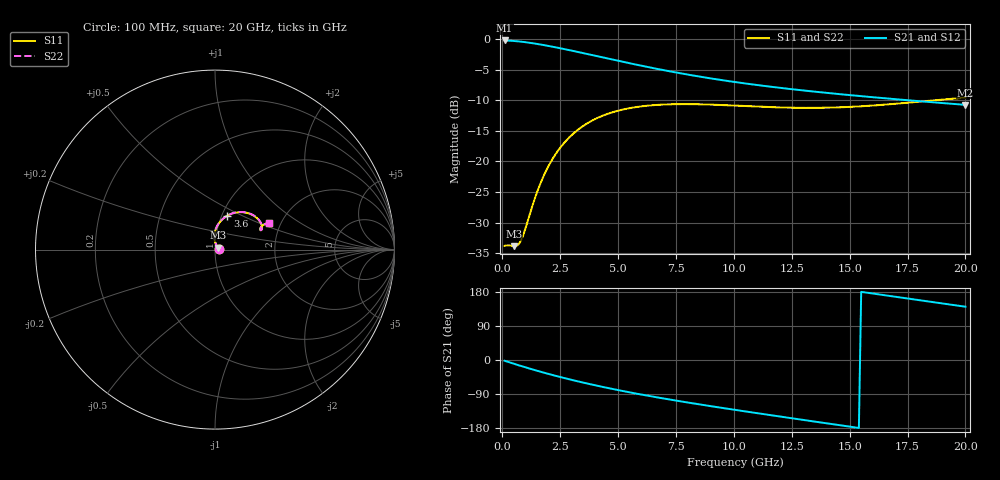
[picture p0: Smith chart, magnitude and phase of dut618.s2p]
! Touchstone file exported from HFSS 2024.1.0
!  File:  C:/UserFiles/LocalFiles/RDL_TSV_Batchsim/temp_RDL_TSV_618_1779801123.aedt
!  Generated:  09:29:42 PM May 26, 2026
!  Design:  RDL_TSV
!  Project:  temp_RDL_TSV_618_1779801123
!  Setup:  Setup1
!  Solution:  Sweep
! Variables:
!  dtsv = 11.08um
!  hbump = 3um
!  htsv = 87.33um
!  ldown = 548.41um
!  lrdl = 320.66um
!  p = 40
!  p1 = 50.2um
!  rhole = 10um
!  subl = 2927.87um
!  t = 450um
!  tdown = 4.26um
!  trdl = 2.99um
!  viad = 10um
!  wdown = 10.11um
!  wrdl = 23.08um
!  xbump = 18um
# GHz S MA R 50.000000
! Terminal data exported
! Port[1] = TM1_1_T1
! Port[2] = TM1_4_T1
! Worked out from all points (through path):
!   200 points, 100 MHz to 20 GHz, reference 50 ohm
!   highest |S21| = -0.18 dB at 100 MHz (marker M1); lowest = -10.7 dB at 20 GHz (marker M2)
!   group delay of S21, straight-line fit = 28.4 ps
!   lowest |S11| = -33.9 dB at 500 MHz (marker M3), VSWR 1.04, Z = 51.7 + j1.09 ohm
!   |S11| at or under -10 dB: start of sweep to 18.61 GHz
!   |S22| runs from -33.9 to -9.5 dB; largest |S21 - S12| = 2.9e-13
!   S11 on the Smith chart (normalised r, x): 100 MHz: 1.04, +0.00; 3.6 GHz: 1.06, +0.42; 20 GHz: 1.74, +0.57
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0.1  0.0204 6.3  0.9792 -2.0  0.9792 -2.0  0.0204 6.3
! Gamma 0 0 0 0
! Port Impedance 50 0 50 0
0.5  0.02027 31.4  0.9699 -9.9  0.9699 -9.9  0.02026 31.4
0.7  0.02094 49.6  0.9623 -13.8  0.9623 -13.8  0.02093 49.7
0.8  0.0224 59.5  0.9578 -15.7  0.9578 -15.7  0.02239 59.6
0.9  0.02485 68.6  0.953 -17.5  0.953 -17.5  0.02484 68.7
1.4  0.04946 91.1  0.924 -26.6  0.924 -26.6  0.04952 91.2
1.6  0.06285 92.7  0.9107 -30.1  0.9107 -30.1  0.06294 92.8
2.1  0.09963 90.1  0.8753 -38.5  0.8753 -38.5  0.09981 90.2
2.7  0.144 82.5  0.8307 -48.0  0.8307 -48.0  0.1443 82.6
3.5  0.1959 71.2  0.7712 -59.7  0.7712 -59.7  0.1963 71.3
3.6  0.2015 69.9  0.7639 -61.1  0.7639 -61.1  0.202 70.0
4.3  0.2356 60.9  0.7142 -70.6  0.7142 -70.6  0.2362 61.0
5.2  0.2661 51.0  0.6554 -81.8  0.6554 -81.8  0.2669 51.1
6  0.2826 43.7  0.6086 -91.1  0.6086 -91.1  0.2835 43.8
6.8  0.2915 37.7  0.5674 -99.8  0.5674 -99.8  0.2925 37.8
8.3  0.2945 29.6  0.5035 -115.0  0.5035 -115.0  0.2956 29.7
10.1  0.2866 24.3  0.4458 -132.1  0.4458 -132.1  0.2877 24.4
11.7  0.2782 22.8  0.407 -146.6  0.407 -146.6  0.2793 22.9
13.4  0.2748 23.6  0.3746 -161.7  0.3746 -161.7  0.2759 23.7
15  0.2798 25.3  0.3496 -175.8  0.3496 -175.8  0.2808 25.4
16.7  0.2938 26.8  0.3271 169.3  0.3271 169.3  0.2948 26.8
20  0.3336 26.0  0.2908 140.6  0.2908 140.6  0.3347 26.1
